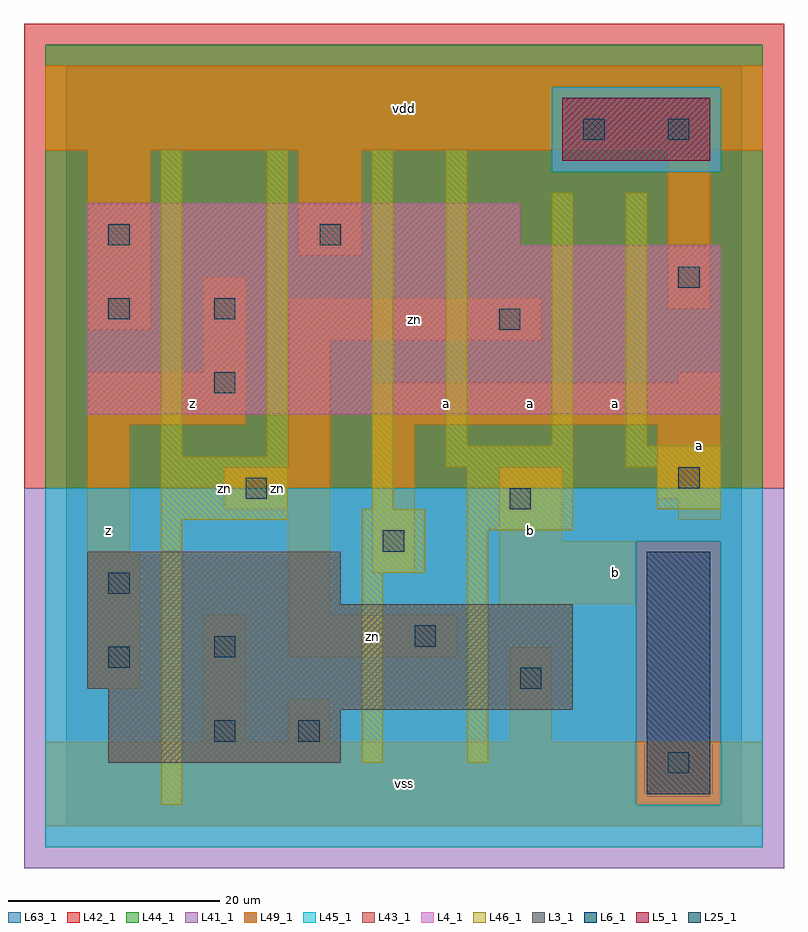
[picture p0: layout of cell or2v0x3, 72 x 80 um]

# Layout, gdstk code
import gdstk
lib = gdstk.Library(unit=1e-6, precision=1e-09)
def R(c, l, rs):  # rectangles x0, y0, x1, y1
    for r in rs: c.add(gdstk.rectangle(r[:2], r[2:], *l))
L3_1 = (3, 1)
L4_1 = (4, 1)
L5_1 = (5, 1)
L6_1 = (6, 1)
L25_1 = (25, 1)
L41_1 = (41, 1)
L42_1 = (42, 1)
L43_1 = (43, 1)
L44_1 = (44, 1)
L45_1 = (45, 1)
L46_1 = (46, 1)
L49_1 = (49, 1)
L63_1 = (63, 1)

or2v0x3 = lib.new_cell('or2v0x3')
R(or2v0x3, L3_1, [(4,6,26,11), (4,11,48,13), (2,13,48,21), (2,21,26,26)])
R(or2v0x3, L4_1, [(2,39,62,55), (2,55,43,59)])
R(or2v0x3, L5_1, [(47,63,61,69)])
R(or2v0x3, L6_1, [(55,3,61,26), (55,3,61,26)])
R(or2v0x3, L25_1, [(57,5,59,7), (14,8,16,10), (22,8,24,10), (43,13,45,15), (4,15,6,17), (14,16,16,18), (33,17,35,19), (4,22,6,24), (30,26,32,28), (42,30,44,32), (17,31,19,33), (58,32,60,34), (14,41,16,43), (41,47,43,49), (4,48,6,50), (14,48,16,50), (58,51,60,53), (4,55,6,57), (24,55,26,57), (49,65,51,67), (57,65,59,67)])
R(or2v0x3, L41_1, [(-4,-4,68,32)])
R(or2v0x3, L42_1, [(-4,32,68,76)])
R(or2v0x3, L43_1, [(55,3,61,26), (4,6,26,11), (4,11,48,13), (2,13,48,21), (2,21,26,26), (2,39,62,55), (2,55,43,59), (47,63,61,69)])
R(or2v0x3, L44_1, [(54,2,62,27), (-2,32,66,62), (-2,62,46,70), (62,62,66,70), (-2,70,66,74)])
R(or2v0x3, L45_1, [(-2,-2,66,2), (-2,2,54,27), (62,2,66,27), (-2,27,66,32), (46,62,62,70)])
R(or2v0x3, L46_1, [(9,2,11,29), (28,6,30,24), (38,6,40,28), (28,24,34,30), (38,28,48,34), (9,29,21,35), (29,30,31,64), (56,30,62,34), (36,34,48,36), (53,34,62,36), (9,35,11,64), (19,35,21,64), (36,36,38,64), (46,36,48,60), (53,36,55,60)])
R(or2v0x3, L49_1, [(-2,0,66,8), (13,8,17,20), (21,8,25,12), (42,8,46,17), (2,13,7,26), (21,16,37,20), (21,20,25,30), (41,21,54,27), (29,24,33,38), (2,26,6,38), (41,27,47,34), (58,29,62,31), (15,30,25,34), (56,31,62,38), (21,34,25,46), (2,38,17,43), (29,38,62,42), (58,42,62,43), (13,43,17,52), (21,46,45,50), (2,47,8,64), (57,49,61,64), (22,54,28,64), (-2,64,66,72)])
R(or2v0x3, L63_1, [(0,0,64,72)])
or2v0x3.add(gdstk.Label('zn', (15,32), layer=46, texttype=1))
or2v0x3.add(gdstk.Label('z', (4,28), layer=49, texttype=1))
or2v0x3.add(gdstk.Label('z', (12,40), layer=49, texttype=1))
or2v0x3.add(gdstk.Label('zn', (20,32), layer=49, texttype=1))
or2v0x3.add(gdstk.Label('vss', (32,4), layer=49, texttype=1))
or2v0x3.add(gdstk.Label('zn', (29,18), layer=49, texttype=1))
or2v0x3.add(gdstk.Label('b', (44,28), layer=49, texttype=1))
or2v0x3.add(gdstk.Label('a', (44,40), layer=49, texttype=1))
or2v0x3.add(gdstk.Label('a', (36,40), layer=49, texttype=1))
or2v0x3.add(gdstk.Label('zn', (33,48), layer=49, texttype=1))
or2v0x3.add(gdstk.Label('vdd', (32,68), layer=49, texttype=1))
or2v0x3.add(gdstk.Label('b', (52,24), layer=49, texttype=1))
or2v0x3.add(gdstk.Label('a', (60,36), layer=49, texttype=1))
or2v0x3.add(gdstk.Label('a', (52,40), layer=49, texttype=1))

lib.write_gds('or2v0x3.gds')
